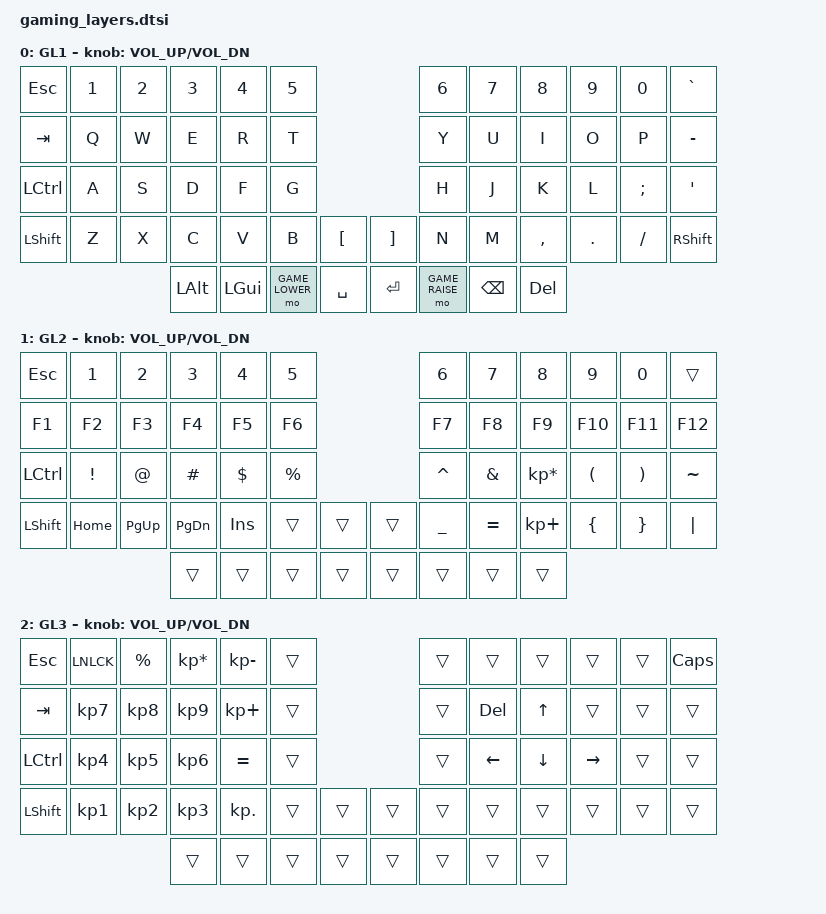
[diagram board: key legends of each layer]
#include <behaviors.dtsi>
#include <dt-bindings/zmk/keys.h>
#include <dt-bindings/zmk/bt.h>
#include <dt-bindings/zmk/ext_power.h>
#include <dt-bindings/zmk/rgb.h>

/ {
    keymap {
        compatible = "zmk,keymap";

        gaming_layer_1 {
            display-name = "GL1";
            // | ESC       | 1         | 2         | 3               | 4            | 5              |                          | 6              | 7         | 8               | 9         | 0        | `         |
            // | TAB       | Q         | W         | E               | R            | T              |                          | Y              | U         | I               | O         | P        | -         |
            // | CTRL      | A         | S         | D               | F            | G              |                          | H              | J         | K               | L         | ;        | '         |
            // | SHIFT     | Z         | X         | C               | V            | B              | [         |   | ]        | N              | M         | ,               | .         | /        | SHIFT     |
            //                                     | ALT             | WIN          | GAME_LOWER     | SPACE     |   | ENTER    | GAME_RAISE     | BSPC      | DEL             |
            bindings = <
                 &kp ESC     &kp N1      &kp N2      &kp N3            &kp N4         &kp N5                                      &kp N6           &kp N7      &kp N8            &kp N9      &kp N0     &kp GRAVE
                 &kp TAB     &kp Q       &kp W       &kp E             &kp R          &kp T                                       &kp Y            &kp U       &kp I             &kp O       &kp P      &kp MINUS
                 &kp LCTRL   &kp A       &kp S       &kp D             &kp F          &kp G                                       &kp H            &kp J       &kp K             &kp L       &kp SEMI   &kp SQT
                 &kp LSHFT   &kp Z       &kp X       &kp C             &kp V          &kp B            &kp LBKT        &kp RBKT   &kp N            &kp M       &kp COMMA         &kp DOT     &kp FSLH   &kp RSHFT
                                                     &kp LALT          &kp LGUI       &mo GAME_LOWER   &kp SPACE       &kp RET    &mo GAME_RAISE   &kp BSPC    &kp DEL
            >;

            sensor-bindings = <&inc_dec_kp C_VOL_UP C_VOL_DN>;
        };

        gaming_layer_2 {
            display-name = "GL2";
            // | ESC       | 1         | 2         | 3               | 4            | 5              |                          | 6              | 7         | 8               | 9         | 0        |           |
            // | F1        | F2        | F3        | F4              | F5           | F6             |                          | F7             | F8        | F9              | F10       | F11      | F12       |
            // | CTRL      | !         | @         | #               | $            | %              |                          | ^              | &         | *               | (         | )        | ~         |
            // | SHIFT     | HOME      | PG_UP     | PG_DN           | INS          |                |           |   |          | _              | =         | +               | {         | }        | |         |
            //                                     |                 |              |                |           |   |          |                |           |                 |
            bindings = <
                 &kp ESC     &kp N1      &kp N2      &kp N3            &kp N4         &kp N5                                      &kp N6           &kp N7      &kp N8            &kp N9      &kp N0     &trans
                 &kp F1      &kp F2      &kp F3      &kp F4            &kp F5         &kp F6                                      &kp F7           &kp F8      &kp F9            &kp F10     &kp F11    &kp F12
                 &kp LCTRL   &kp EXCL    &kp AT      &kp HASH          &kp DOLLAR     &kp PRCNT                                   &kp CARET        &kp AMPS    &kp KP_MULTIPLY   &kp LPAR    &kp RPAR   &kp TILDE
                 &kp LSHFT   &kp HOME    &kp PG_UP   &kp PG_DN         &kp INS        &trans           &trans          &trans     &kp UNDER        &kp EQUAL   &kp KP_PLUS       &kp LBRC    &kp RBRC   &kp PIPE
                                                     &trans            &trans         &trans           &trans          &trans     &trans           &trans      &trans
            >;

            sensor-bindings = <&inc_dec_kp C_VOL_UP C_VOL_DN>;
        };

        gaming_layer_3 {
            display-name = "GL3";
            // | ESC       | NUMLCK    | %         | *               | -            |                |                          |                |           |                 |           |          | CAPS      |
            // | TAB       | 7         | 8         | 9               | +            |                |                          |                | DEL       | UP              |           |          |           |
            // | CTRL      | 4         | 5         | 6               | =            |                |                          |                | LEFT      | DOWN            | RIGHT     |          |           |
            // | SHIFT     | 1         | 2         | 3               | .            |                |           |   |          |                |           |                 |           |          |           |
            //                                     |                 |              |                |           |   |          |                |           |                 |
            bindings = <
                 &kp ESC     &kp LNLCK   &kp PRCNT   &kp KP_MULTIPLY   &kp KP_MINUS   &trans                                      &trans           &trans      &trans            &trans      &trans     &kp CAPS
                 &kp TAB     &kp KP_N7   &kp KP_N8   &kp KP_N9         &kp KP_PLUS    &trans                                      &trans           &kp DEL     &kp UP            &trans      &trans     &trans
                 &kp LCTRL   &kp KP_N4   &kp KP_N5   &kp KP_N6         &kp EQUAL      &trans                                      &trans           &kp LEFT    &kp DOWN          &kp RIGHT   &trans     &trans
                 &kp LSHFT   &kp KP_N1   &kp KP_N2   &kp KP_N3         &kp KP_DOT     &trans           &trans          &trans     &trans           &trans      &trans            &trans      &trans     &trans
                                                     &trans            &trans         &trans           &trans          &trans     &trans           &trans      &trans
            >;

            sensor-bindings = <&inc_dec_kp C_VOL_UP C_VOL_DN>;
        };
    };
};
